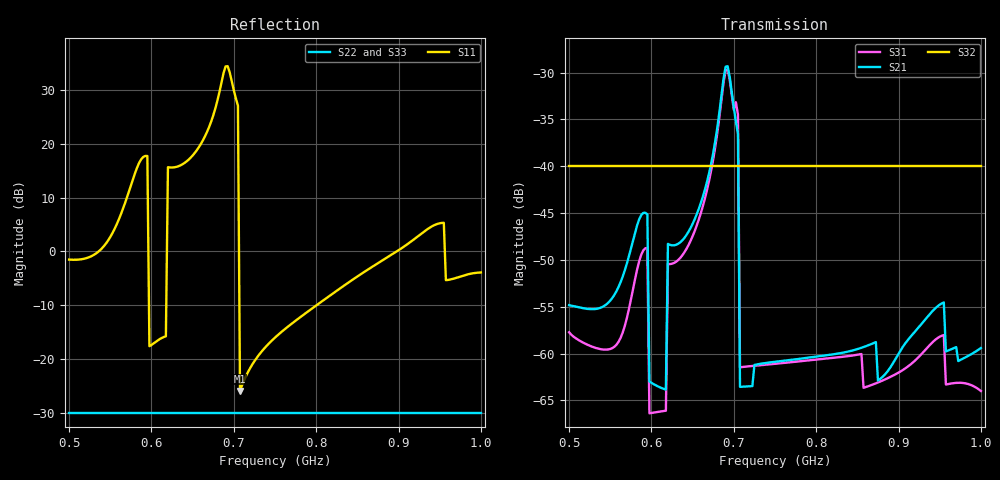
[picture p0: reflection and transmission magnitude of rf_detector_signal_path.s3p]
# HZ S DB R 50
! 3-Port S-parameters: Port 1=SMA IN, Port 2=U3 (AD8313), Port 3=Digital Line
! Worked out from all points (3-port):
!   201 points, 500 MHz to 1 GHz, reference 50 ohm
!   strongest paths, dB at 500 MHz, 625 MHz, 750 MHz, 875 MHz, 1 GHz:
!     S32: -40.0, -40.0, -40.0, -40.0, -40.0
!     S21: -54.8, -48.4, -60.9, -62.9, -59.4
!     S31: -57.7, -50.4, -61.1, -63.1, -64.0
!   lowest |S11| = -25.9 dB at 707.5 MHz (marker M1), VSWR 1.11, Z = 55.4 + j0 ohm
!   |S11| at or under -10 dB: 597 MHz to 618 MHz (20.99 MHz wide, 3.46 % of centre); 706.8 MHz to 800.1 MHz (93.38 MHz wide, 12.4 % of centre)
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5e8  -1.50 0.0  -54.84 0.0  -57.73 0.0
     -54.84 0.0  -30.00 0.0  -40.00 0.0
     -57.73 0.0  -40.00 0.0  -30.00 0.0
5.95e8  17.70 0.0  -45.14 0.0  -48.72 0.0
        -45.14 0.0  -30.00 0.0  -40.00 0.0
        -48.72 0.0  -40.00 0.0  -30.00 0.0
6.175e8  -15.72 0.0  -63.86 0.0  -66.11 0.0
         -63.86 0.0  -30.00 0.0  -40.00 0.0
         -66.11 0.0  -40.00 0.0  -30.00 0.0
6.575e8  19.33 0.0  -44.53 0.0  -45.68 0.0
         -44.53 0.0  -30.00 0.0  -40.00 0.0
         -45.68 0.0  -40.00 0.0  -30.00 0.0
6.775e8  26.49 0.0  -37.28 0.0  -37.90 0.0
         -37.28 0.0  -30.00 0.0  -40.00 0.0
         -37.90 0.0  -40.00 0.0  -30.00 0.0
6.925e8  34.35 0.0  -29.31 0.0  -29.66 0.0
         -29.31 0.0  -30.00 0.0  -40.00 0.0
         -29.66 0.0  -40.00 0.0  -30.00 0.0
7.05e8  27.03 0.0  -36.55 0.0  -34.47 0.0
        -36.55 0.0  -30.00 0.0  -40.00 0.0
        -34.47 0.0  -40.00 0.0  -30.00 0.0
7.075e8  -25.85 0.0  -63.56 0.0  -61.47 0.0
         -63.56 0.0  -30.00 0.0  -40.00 0.0
         -61.47 0.0  -40.00 0.0  -30.00 0.0
7.5e8  -15.96 0.0  -60.88 0.0  -61.10 0.0
       -60.88 0.0  -30.00 0.0  -40.00 0.0
       -61.10 0.0  -40.00 0.0  -30.00 0.0
1e9  -3.89 0.0  -59.41 0.0  -64.00 0.0
     -59.41 0.0  -30.00 0.0  -40.00 0.0
     -64.00 0.0  -40.00 0.0  -30.00 0.0
